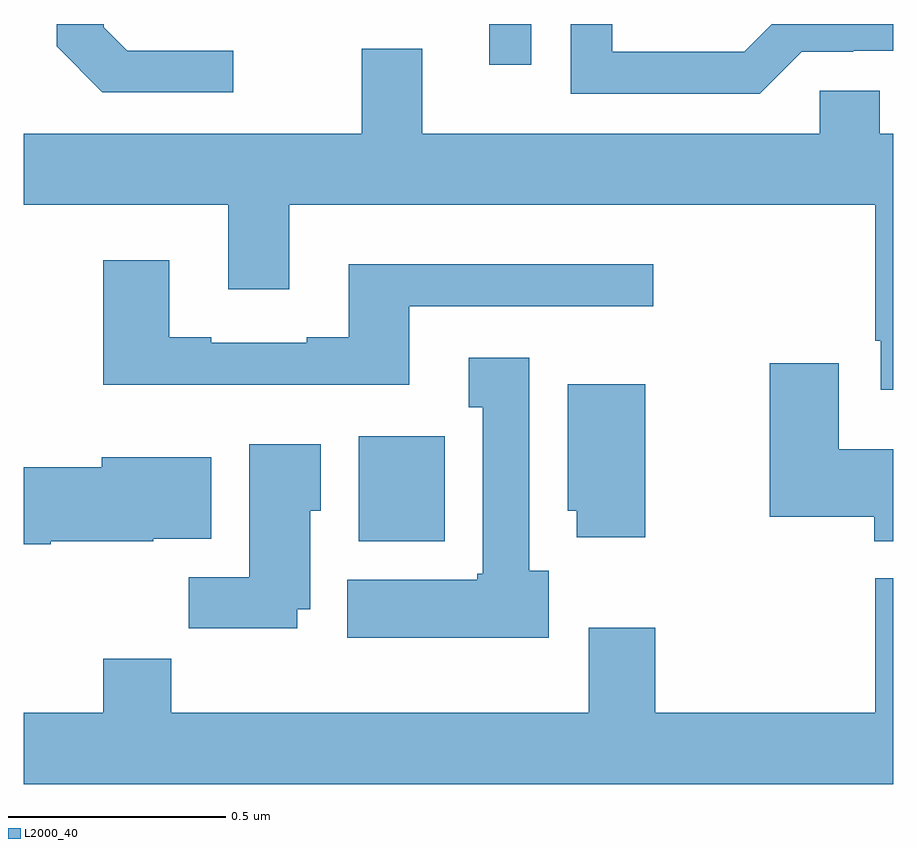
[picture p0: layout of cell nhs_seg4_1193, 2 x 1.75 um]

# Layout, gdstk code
import gdstk
lib = gdstk.Library(unit=1e-6, precision=1e-09)
def R(c, l, rs):  # rectangles x0, y0, x1, y1
    for r in rs: c.add(gdstk.rectangle(r[:2], r[2:], *l))
def P(c, l, *ps):  # polygons
    for p in ps: c.add(gdstk.Polygon(p, *l))
L2000_40 = (2000, 40)

nhs_seg4_1193 = lib.new_cell('nhs_seg4_1193')
R(nhs_seg4_1193, L2000_40, [(125.771,798.71,125.968,798.952), (126.071,799.806,126.167,799.9)])
P(nhs_seg4_1193, L2000_40, [(125.482,799.839),(125.238,799.839),(125.184,799.893),(125.184,799.9),(125.076,799.9),(125.076,799.849),(125.181,799.743),(125.482,799.743)],
  [(126.789,799.836),(126.908,799.836),(126.908,799.839),(127,799.839),(127,799.9),(126.721,799.9),(126.657,799.836),(126.354,799.836),(126.354,799.9),(126.258,799.9),(126.258,799.74),(126.693,799.74)],
  [(127,799.648),(126.969,799.648),(126.969,799.746),(126.831,799.746),(126.831,799.648),(125.917,799.648),(125.917,799.843),(125.777,799.843),(125.777,799.648),(125,799.648),(125,799.484),(125.471,799.484),(125.471,799.29),(125.611,799.29),(125.611,799.484),(126.959,799.484),(126.959,799.171),(126.971,799.171),(126.971,799.059),(127,799.059)],
  [(125.887,799.251),(126.448,799.251),(126.448,799.348),(125.747,799.348),(125.747,799.18),(125.651,799.18),(125.651,799.167),(125.431,799.167),(125.431,799.18),(125.335,799.18),(125.335,799.357),(125.183,799.357),(125.183,799.07),(125.887,799.07)],
  [(126.208,798.642),(126.163,798.642),(126.163,799.132),(126.023,799.132),(126.023,799.019),(126.056,799.019),(126.056,798.636),(126.043,798.636),(126.043,798.622),(125.744,798.622),(125.744,798.488),(126.208,798.488)],
  [(127,798.922),(126.874,798.922),(126.874,799.12),(126.716,799.12),(126.716,798.767),(126.956,798.767),(126.956,798.71),(127,798.71)],
  [(126.43,799.072),(126.251,799.072),(126.251,798.78),(126.272,798.78),(126.272,798.72),(126.43,798.72)],
  [(125.629,798.554),(125.659,798.554),(125.659,798.78),(125.683,798.78),(125.683,798.934),(125.519,798.934),(125.519,798.628),(125.38,798.628),(125.38,798.51),(125.629,798.51)],
  [(125.062,798.71),(125.298,798.71),(125.298,798.716),(125.431,798.716),(125.431,798.904),(125.18,798.904),(125.18,798.881),(125,798.881),(125,798.703),(125.062,798.703)],
  [(127,798.625),(126.959,798.625),(126.959,798.316),(126.452,798.316),(126.452,798.511),(126.299,798.511),(126.299,798.316),(125.339,798.316),(125.339,798.44),(125.183,798.44),(125.183,798.316),(125,798.316),(125,798.152),(127,798.152)])

lib.write_gds('nhs_seg4_1193.gds')
